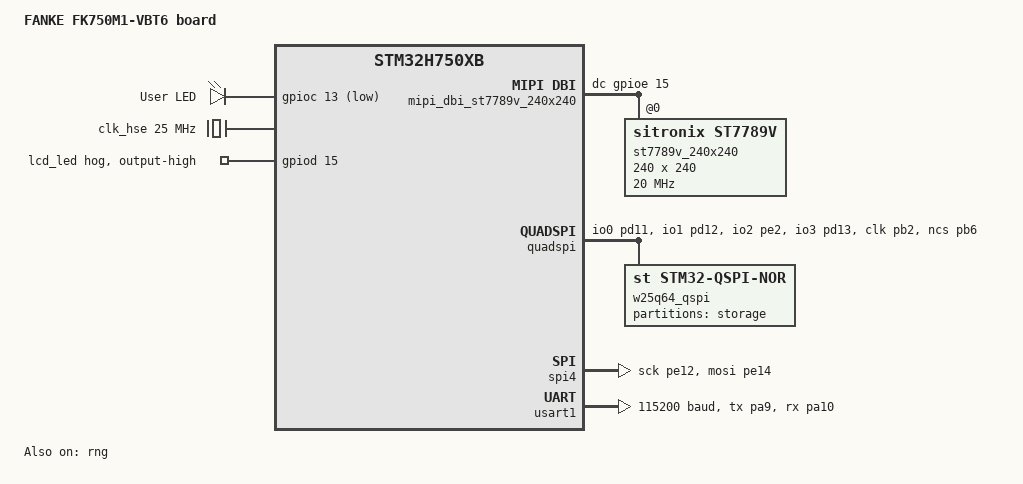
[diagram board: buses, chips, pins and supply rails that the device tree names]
/*
 * Copyright (c) 2024 zack jiang <1125934312@qq.com>
 *
 * SPDX-License-Identifier: Apache-2.0
 */

/dts-v1/;
#include <st/h7/stm32h750Xb.dtsi>
#include <st/h7/stm32h750vbtx-pinctrl.dtsi>
#include <zephyr/dt-bindings/memory-attr/memory-attr-arm.h>
#include <zephyr/dt-bindings/input/input-event-codes.h>
#include <zephyr/dt-bindings/mipi_dbi/mipi_dbi.h>

/ {
	model = "FANKE FK750M1-VBT6 board";
	compatible = "fanke,fk750m1-vbt6";

	chosen {
		zephyr,console = &usart1;
		zephyr,shell-uart = &usart1;
		zephyr,sram = &sram0;
		zephyr,flash = &flash0;
		zephyr,display = &st7789v_240x240;
	};

	leds {
		compatible = "gpio-leds";
		user_led: led_0 {
			gpios = <&gpioc 13 GPIO_ACTIVE_LOW>;
			label = "User LED";
		};
	};

	aliases {
		led0 = &user_led;
	};

	mipi_dbi_st7789v_240x240 {
		compatible = "zephyr,mipi-dbi-spi";
		spi-dev = <&spi4>;
		dc-gpios = <&gpioe 15 GPIO_ACTIVE_HIGH>;
		#address-cells = <1>;
		#size-cells = <0>;

		st7789v_240x240: st7789v@0 {
			compatible = "sitronix,st7789v";
			mipi-max-frequency = <20000000>;
			reg = <0>;
			width = <240>;
			height = <240>;
			x-offset = <0>;
			y-offset = <0>;
			vcom = <0x19>;
			gctrl = <0x35>;
			vrhs = <0x12>;
			vdvs = <0x20>;
			mdac = <0x00>;
			gamma = <0x01>;
			colmod = <0x05>;
			lcm = <0x2c>;
			porch-param = [0c 0c 00 33 33];
			cmd2en-param = [5a 69 02 01];
			pwctrl1-param = [a4 a1];
			pvgam-param = [D0 04 0D 11 13 2B 3F 54 4C 18 0D 0B 1F 23];
			nvgam-param = [D0 04 0C 11 13 2C 3F 44 51 2F 1F 1F 20 23];
			ram-param = [00 F0];
			rgb-param = [CD 08 14];
			mipi-mode = "MIPI_DBI_MODE_SPI_4WIRE";
		};
	};
};

&clk_hsi48 {
	status = "okay";
};

&clk_hse {
	clock-frequency = <DT_FREQ_M(25)>;
	status = "okay";
};

&pll {
	div-m = <5>;
	mul-n = <192>;
	div-p = <2>;
	div-q = <4>;
	div-r = <4>;
	clocks = <&clk_hse>;
	status = "okay";
};

&pll3 {
	div-m = <5>;
	mul-n = <192>;
	div-p = <2>;
	div-q = <20>;
	div-r = <99>;
	clocks = <&clk_hse>;
	status = "okay";
};

&rcc {
	clocks = <&pll>;
	clock-frequency = <DT_FREQ_M(480)>;
	d1cpre = <1>;
	hpre = <2>;
	d1ppre = <2>;
	d2ppre1 = <2>;
	d2ppre2 = <2>;
	d3ppre = <2>;
};

&quadspi {
	pinctrl-0 = <&quadspi_bk1_io0_pd11 &quadspi_bk1_io1_pd12
		     &quadspi_bk1_io2_pe2 &quadspi_bk1_io3_pd13
		     &quadspi_clk_pb2 &quadspi_bk1_ncs_pb6>;
	pinctrl-names = "default";
	status = "okay";

	/* Winbond external flash */
	w25q64_qspi: qspi-nor-flash@90000000 {
		compatible = "st,stm32-qspi-nor";
		reg = <0x90000000 DT_SIZE_M(64)>; /* 64 Mbits */
		qspi-max-frequency = <40000000>;
		status = "okay";
		spi-bus-width = <4>;
		writeoc = "PP_1_1_4";

		partitions {
			compatible = "fixed-partitions";
			#address-cells = <1>;
			#size-cells = <1>;
			storage_partition: partition@0 {
				label = "storage";
				reg = <0x00000000 DT_SIZE_M(64)>;
			};
		};
	};
};

&spi4 {
	pinctrl-0 = <&spi4_sck_pe12 &spi4_mosi_pe14>;
	cs-gpios = <&gpioe 11 GPIO_ACTIVE_LOW>;
	pinctrl-names = "default";
	status = "okay";
};

&gpiod {
	status = "okay";

	lcd_led {
		gpio-hog;
		gpios = <15 GPIO_ACTIVE_HIGH>;
		output-high;
	};
};

&usart1 {
	pinctrl-0 = <&usart1_tx_pa9 &usart1_rx_pa10>;
	pinctrl-names = "default";
	current-speed = <115200>;
	status = "okay";
};

&backup_sram {
	status = "okay";
};

&rng {
	status = "okay";
};
